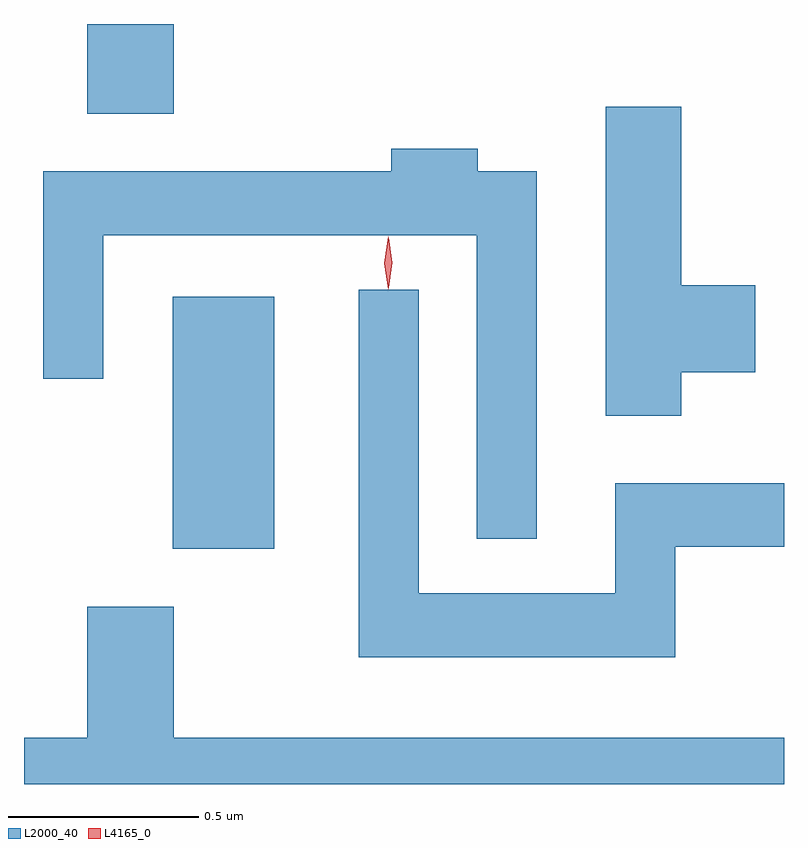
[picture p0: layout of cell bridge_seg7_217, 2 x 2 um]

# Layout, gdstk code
import gdstk
lib = gdstk.Library(unit=1e-6, precision=1e-09)
def R(c, l, rs):  # rectangles x0, y0, x1, y1
    for r in rs: c.add(gdstk.rectangle(r[:2], r[2:], *l))
def P(c, l, *ps):  # polygons
    for p in ps: c.add(gdstk.Polygon(p, *l))
L2000_40 = (2000, 40)
L4165_0 = (4165, 0)

bridge_seg7_217 = lib.new_cell('bridge_seg7_217')
R(bridge_seg7_217, L2000_40, [(1483.996,1710.641,1484.264,1711.304), (1483.771,1711.786,1483.999,1712.022)])
P(bridge_seg7_217, L2000_40, [(1485.334,1711.106),(1485.529,1711.106),(1485.529,1711.334),(1485.334,1711.334),(1485.334,1711.804),(1485.136,1711.804),(1485.136,1710.991),(1485.334,1710.991)],
  [(1484.954,1711.634),(1484.799,1711.634),(1484.799,1711.694),(1484.571,1711.694),(1484.571,1711.634),(1483.656,1711.634),(1483.656,1711.088),(1483.814,1711.088),(1483.814,1711.466),(1484.796,1711.466),(1484.796,1710.668),(1484.954,1710.668)],
  [(1485.319,1710.646),(1485.605,1710.646),(1485.605,1710.814),(1485.161,1710.814),(1485.161,1710.524),(1484.644,1710.524),(1484.644,1711.323),(1484.486,1711.323),(1484.486,1710.356),(1485.319,1710.356)],
  [(1485.605,1710.144),(1483.999,1710.144),(1483.999,1710.489),(1483.771,1710.489),(1483.771,1710.144),(1483.605,1710.144),(1483.605,1710.022),(1485.605,1710.022)])
P(bridge_seg7_217, L4165_0, [(1484.565,1711.327),(1484.564,1711.328),(1484.555,1711.394),(1484.564,1711.46),(1484.564,1711.46),(1484.565,1711.46),(1484.574,1711.394),(1484.565,1711.328)],
  [(1484.563,1711.323),(1484.563,1711.324),(1484.553,1711.393),(1484.563,1711.462),(1484.563,1711.463),(1484.564,1711.462),(1484.573,1711.393),(1484.564,1711.324)])

lib.write_gds('bridge_seg7_217.gds')
